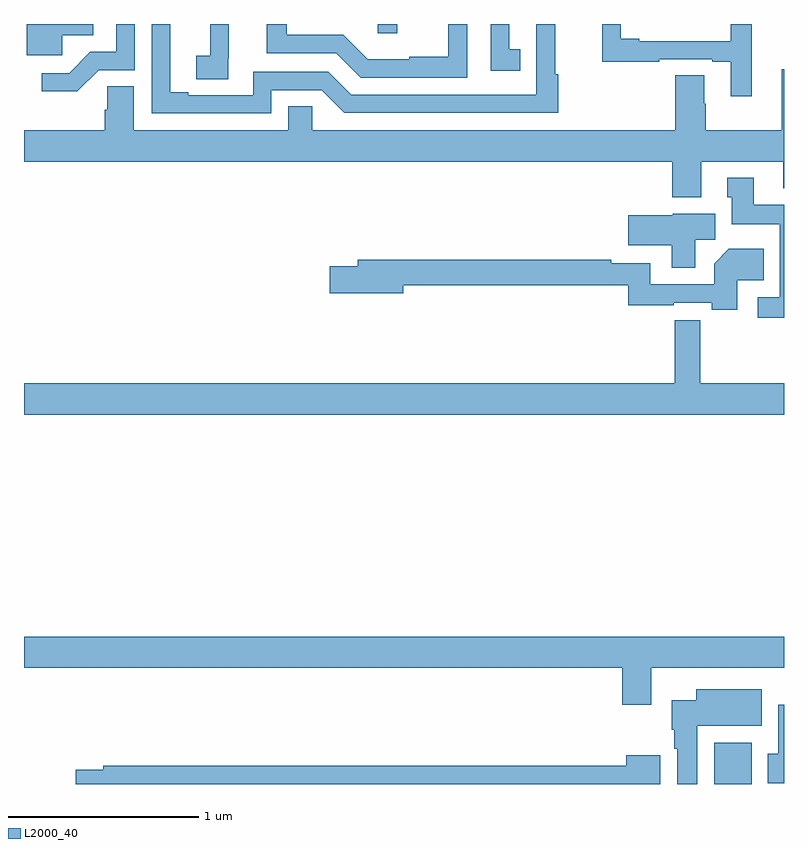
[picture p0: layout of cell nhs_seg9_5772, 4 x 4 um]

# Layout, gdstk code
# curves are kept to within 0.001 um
import gdstk
lib = gdstk.Library(unit=1e-6, precision=1e-09)
def R(c, l, rs):  # rectangles x0, y0, x1, y1
    for r in rs: c.add(gdstk.rectangle(r[:2], r[2:], *l))
def P(c, l, *ps):  # polygons
    for p in ps: c.add(gdstk.Polygon(p, *l))
L2000_40 = (2000, 40)

nhs_seg9_5772 = lib.new_cell('nhs_seg9_5772')
R(nhs_seg9_5772, L2000_40, [(450.632,1170.5,450.829,1170.718), (448.863,1174.452,448.964,1174.5), (450.311,1174.499,450.553,1174.5)])
P(nhs_seg9_5772, L2000_40, [(448.302,1174.152),(448.566,1174.152),(448.686,1174.032),(449.813,1174.032),(449.813,1174.235),(449.796,1174.235),(449.796,1174.5),(449.696,1174.5),(449.697,1174.128),(448.722,1174.128),(448.602,1174.248),(448.206,1174.248),(448.206,1174.125),(447.865,1174.125),(447.865,1174.14),(447.769,1174.14),(447.769,1174.5),(447.672,1174.5),(447.672,1174.029),(448.302,1174.029)],
  [(447.201,1174.442),(447.364,1174.442),(447.364,1174.5),(447.014,1174.5),(447.014,1174.335),(447.201,1174.335)],
  [(447.393,1174.257),(447.582,1174.257),(447.582,1174.5),(447.486,1174.5),(447.486,1174.353),(447.348,1174.353),(447.237,1174.242),(447.093,1174.242),(447.093,1174.145),(447.28,1174.145)],
  [(450.829,1174.5),(450.719,1174.5),(450.719,1174.41),(450.238,1174.41),(450.238,1174.423),(450.142,1174.423),(450.142,1174.5),(450.043,1174.5),(450.043,1174.302),(450.344,1174.302),(450.344,1174.314),(450.623,1174.314),(450.623,1174.302),(450.719,1174.302),(450.719,1174.119),(450.829,1174.119)],
  [(448.076,1174.321),(448.078,1174.321),(448.078,1174.5),(447.98,1174.5),(447.98,1174.332),(447.906,1174.332),(447.906,1174.21),(448.076,1174.21)],
  [(449.334,1174.5),(449.233,1174.5),(449.233,1174.327),(449.027,1174.327),(449.027,1174.315),(448.808,1174.315),(448.68,1174.443),(448.384,1174.443),(448.384,1174.5),(448.277,1174.5),(448.277,1174.347),(448.644,1174.347),(448.773,1174.218),(449.334,1174.218)],
  [(449.612,1174.367),(449.554,1174.367),(449.554,1174.5),(449.457,1174.5),(449.457,1174.254),(449.612,1174.254)],
  [(447.438,1174.172),(447.438,1174.049),(447.425,1174.049),(447.425,1173.94),(447,1173.94),(447,1173.776),(450.413,1173.776),(450.413,1173.587),(450.565,1173.587),(450.565,1173.776),(450.995,1173.776),(450.995,1173.635),(451,1173.635),(451,1174.261),(450.989,1174.261),(450.989,1173.94),(450.588,1173.94),(450.588,1174.079),(450.58,1174.079),(450.58,1174.229),(450.428,1174.229),(450.428,1173.94),(448.518,1173.94),(448.518,1174.067),(448.391,1174.067),(448.391,1173.94),(447.577,1173.94),(447.577,1174.172)],
  [(451,1173.55),(450.841,1173.55),(450.841,1173.691),(450.701,1173.691),(450.701,1173.588),(450.725,1173.588),(450.725,1173.446),(450.978,1173.446),(450.978,1173.063),(450.861,1173.063),(450.861,1172.955),(451,1172.955)],
  [(450.532,1173.364),(450.637,1173.364),(450.637,1173.502),(450.414,1173.502),(450.414,1173.493),(450.18,1173.493),(450.18,1173.335),(450.41,1173.335),(450.41,1173.216),(450.532,1173.216)],
  [(450.754,1173.152),(450.893,1173.152),(450.893,1173.316),(450.71,1173.316),(450.632,1173.238),(450.632,1173.129),(450.297,1173.129),(450.297,1173.24),(450.092,1173.24),(450.092,1173.26),(448.757,1173.26),(448.757,1173.224),(448.608,1173.224),(448.608,1173.082),(448.996,1173.082),(448.996,1173.124),(450.181,1173.124),(450.181,1173.021),(450.42,1173.021),(450.42,1173.033),(450.62,1173.033),(450.62,1172.995),(450.754,1172.995)],
  [(451,1172.608),(450.56,1172.608),(450.56,1172.941),(450.424,1172.941),(450.424,1172.608),(447,1172.608),(447,1172.444),(451,1172.444)],
  [(450.301,1171.112),(451,1171.112),(451,1171.276),(447,1171.276),(447,1171.112),(450.149,1171.112),(450.149,1170.918),(450.301,1170.918)],
  [(450.544,1170.806),(450.883,1170.806),(450.883,1171),(450.539,1171),(450.539,1170.94),(450.41,1170.94),(450.41,1170.786),(450.422,1170.786),(450.422,1170.686),(450.437,1170.686),(450.437,1170.5),(450.544,1170.5)],
  [(451,1170.918),(450.971,1170.918),(450.971,1170.66),(450.914,1170.66),(450.914,1170.504),(451,1170.504)],
  [(450.349,1170.652),(450.17,1170.652),(450.17,1170.596),(447.418,1170.596),(447.418,1170.576),(447.272,1170.576),(447.272,1170.5),(450.349,1170.5)])

lib.write_gds('nhs_seg9_5772.gds')
